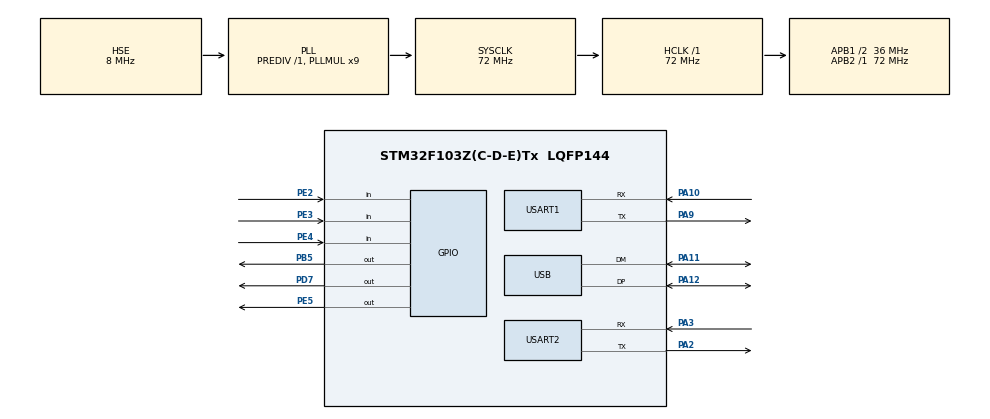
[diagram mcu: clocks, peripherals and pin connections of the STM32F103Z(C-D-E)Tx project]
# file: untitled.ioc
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FREERTOS.Tasks01=defaultTask,24,128,StartDefaultTask,Default,NULL,Dynamic,NULL,NULL;myLEDTask,8,128,StartLEDTask,Default,NULL,Dynamic,NULL,NULL;myUsart2Task,8,128,StartUsart2Task,Default,NULL,Dynamic,NULL,NULL;myUSBTask,8,128,StartUSBTask,Default,NULL,Dynamic,NULL,NULL
FREERTOS.configUSE_NEWLIB_REENTRANT=1
Mcu.Family=STM32F1
Mcu.Name=STM32F103Z(C-D-E)Tx
Mcu.Package=LQFP144
NVIC.PriorityGroup=NVIC_PRIORITYGROUP_4
NVIC.TIM2_IRQn=true\:5\:0\:false\:false\:true\:true\:true\:true\:true
NVIC.TIM7_IRQn=true\:15\:0\:false\:false\:true\:false\:false\:true\:true
NVIC.TimeBase=TIM7_IRQn
NVIC.TimeBaseIP=TIM7
NVIC.USART2_IRQn=true\:5\:0\:false\:false\:true\:true\:true\:true\:true
NVIC.USB_LP_CAN1_RX0_IRQn=true\:5\:0\:false\:false\:true\:true\:false\:true\:true
OSC_IN.Mode=HSE-External-Oscillator
OSC_IN.Signal=RCC_OSC_IN
OSC_OUT.Mode=HSE-External-Oscillator
OSC_OUT.Signal=RCC_OSC_OUT
PA10.Mode=Asynchronous
PA10.Signal=USART1_RX
PA11.Mode=Device
PA11.Signal=USB_DM
PA12.Mode=Device
PA12.Signal=USB_DP
PA13.Mode=Serial_Wire
PA13.Signal=SYS_JTMS-SWDIO
PA14.Mode=Serial_Wire
PA14.Signal=SYS_JTCK-SWCLK
PA2.Mode=Asynchronous
PA2.Signal=USART2_TX
PA3.Mode=Asynchronous
PA3.Signal=USART2_RX
PA9.Mode=Asynchronous
PA9.Signal=USART1_TX
PB5.Signal=GPIO_Output
PD7.Signal=GPIO_Output
PE2.Signal=GPIO_Input
PE3.Signal=GPIO_Input
PE4.Signal=GPIO_Input
PE5.Signal=GPIO_Output
ProjectManager.HeapSize=0x200
ProjectManager.StackSize=0x400
ProjectManager.TargetToolchain=STM32CubeIDE
RCC.AHBFreq_Value=72000000
RCC.APB1CLKDivider=RCC_HCLK_DIV2
RCC.APB1Freq_Value=36000000
RCC.APB1TimFreq_Value=72000000
RCC.APB2Freq_Value=72000000
RCC.APB2TimFreq_Value=72000000
RCC.HCLKFreq_Value=72000000
RCC.PLLMUL=RCC_PLL_MUL9
RCC.PLLSourceVirtual=RCC_PLLSOURCE_HSE
RCC.SYSCLKFreq_VALUE=72000000
RCC.SYSCLKSource=RCC_SYSCLKSOURCE_PLLCLK
RCC.USBFreq_Value=48000000
RCC.USBPrescaler=RCC_USBCLKSOURCE_PLL_DIV1_5
TIM2.Period=500
TIM2.Prescaler=72-1
USART1.VirtualMode=VM_ASYNC
USART2.VirtualMode=VM_ASYNC
USB_DEVICE.CLASS_NAME_FS=CDC
USB_DEVICE.VirtualMode=Cdc
USB_DEVICE.VirtualModeFS=Cdc_FS
VP_FREERTOS_VS_CMSIS_V2.Mode=CMSIS_V2
VP_SYS_VS_tim7.Mode=TIM7
VP_TIM2_VS_ClockSourceINT.Mode=Internal
VP_USB_DEVICE_VS_USB_DEVICE_CDC_FS.Mode=CDC_FS
board=custom

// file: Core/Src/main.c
/* USER CODE BEGIN Header */
/**
  ******************************************************************************
  * @file           : main.c
  * @brief          : Main program body
  ******************************************************************************
  * @attention
  *
  * Copyright (c) 2024 STMicroelectronics.
  * All rights reserved.
  *
  * This software is licensed under terms that can be found in the LICENSE file
  * in the root directory of this software component.
  * If no LICENSE file comes with this software, it is provided AS-IS.
  *
  ******************************************************************************
  */
/* USER CODE END Header */
#include "main.h"
#include "cmsis_os.h"
#include "usb_device.h"

/* USER CODE BEGIN Includes */
#include "semphr.h"
#include "user_task.h"
#include "user_gpio.h"
#include "user_usart.h"
#include "user_debug.h"
#include "user_usb.h"
#include "user_data.h"
/* USER CODE END Includes */

/* USER CODE BEGIN PM */
extern uint8_t usart2_recv_array[1];
extern enum State current_state;
extern enum State next_state;
extern uint8_t usb_rx_finish;
extern uint8_t usb_rx_data[USB_MAX_SIZE];
/* USER CODE END PM */

TIM_HandleTypeDef htim2;

UART_HandleTypeDef huart1;
UART_HandleTypeDef huart2;

/* Definitions for defaultTask */
osThreadId_t defaultTaskHandle;
const osThreadAttr_t defaultTask_attributes = {
  .name = "defaultTask",
  .stack_size = 128 * 4,
  .priority = (osPriority_t) osPriorityNormal,
};
/* Definitions for myLEDTask */
osThreadId_t myLEDTaskHandle;
const osThreadAttr_t myLEDTask_attributes = {
  .name = "myLEDTask",
  .stack_size = 128 * 4,
  .priority = (osPriority_t) osPriorityLow,
};
/* Definitions for myUsart2Task */
osThreadId_t myUsart2TaskHandle;
const osThreadAttr_t myUsart2Task_attributes = {
  .name = "myUsart2Task",
  .stack_size = 128 * 4,
  .priority = (osPriority_t) osPriorityLow,
};
/* Definitions for myUSBTask */
osThreadId_t myUSBTaskHandle;
const osThreadAttr_t myUSBTask_attributes = {
  .name = "myUSBTask",
  .stack_size = 128 * 4,
  .priority = (osPriority_t) osPriorityLow,
};
/* USER CODE BEGIN PV */

SemaphoreHandle_t uart1_mutex;

/* USER CODE END PV */

void SystemClock_Config(void);
static void MX_GPIO_Init(void);
static void MX_USART1_UART_Init(void);
static void MX_USART2_UART_Init(void);
static void MX_TIM2_Init(void);
void StartDefaultTask(void *argument);
void StartLEDTask(void *argument);
void StartUsart2Task(void *argument);
void StartUSBTask(void *argument);

int main(void)
{

  /* MCU Configuration--------------------------------------------------------*/

  /* Reset of all peripherals, Initializes the Flash interface and the Systick. */
  HAL_Init();

  /* USER CODE BEGIN Init */
  uart1_mutex = xSemaphoreCreateMutex();
  /* USER CODE END Init */

  /* Configure the system clock */
  SystemClock_Config();

  /* Initialize all configured peripherals */
  MX_GPIO_Init();
  MX_USART1_UART_Init();
  MX_USART2_UART_Init();
  MX_TIM2_Init();
  /* USER CODE BEGIN 2 */
  MX_USB_DEVICE_Init();
  HAL_TIM_Base_Start_IT(&htim2);
  HAL_UART_Receive_IT(&huart2, usart2_recv_array, 1);
  Init_USB_Data();
  /* USER CODE END 2 */

  /* Init scheduler */
  osKernelInitialize();

  /* Create the thread(s) */
  /* creation of defaultTask */
  defaultTaskHandle = osThreadNew(StartDefaultTask, NULL, &defaultTask_attributes);

  /* creation of myLEDTask */
  myLEDTaskHandle = osThreadNew(StartLEDTask, NULL, &myLEDTask_attributes);

  /* creation of myUsart2Task */
  myUsart2TaskHandle = osThreadNew(StartUsart2Task, NULL, &myUsart2Task_attributes);

  /* creation of myUSBTask */
  myUSBTaskHandle = osThreadNew(StartUSBTask, NULL, &myUSBTask_attributes);

  /* Start scheduler */
  osKernelStart();

  /* We should never get here as control is now taken by the scheduler */

  /* Infinite loop */
  while (1)
  {

  }
}

void SystemClock_Config(void)
{
  RCC_OscInitTypeDef RCC_OscInitStruct = {0};
  RCC_ClkInitTypeDef RCC_ClkInitStruct = {0};
  RCC_PeriphCLKInitTypeDef PeriphClkInit = {0};

  /** Initializes the RCC Oscillators according to the specified parameters
  * in the RCC_OscInitTypeDef structure.
  */
  RCC_OscInitStruct.OscillatorType = RCC_OSCILLATORTYPE_HSE;
  RCC_OscInitStruct.HSEState = RCC_HSE_ON;
  RCC_OscInitStruct.HSEPredivValue = RCC_HSE_PREDIV_DIV1;
  RCC_OscInitStruct.HSIState = RCC_HSI_ON;
  RCC_OscInitStruct.PLL.PLLState = RCC_PLL_ON;
  RCC_OscInitStruct.PLL.PLLSource = RCC_PLLSOURCE_HSE;
  RCC_OscInitStruct.PLL.PLLMUL = RCC_PLL_MUL9;
  if (HAL_RCC_OscConfig(&RCC_OscInitStruct) != HAL_OK)
  {
    Error_Handler();
  }

  /** Initializes the CPU, AHB and APB buses clocks
  */
  RCC_ClkInitStruct.ClockType = RCC_CLOCKTYPE_HCLK|RCC_CLOCKTYPE_SYSCLK
                              |RCC_CLOCKTYPE_PCLK1|RCC_CLOCKTYPE_PCLK2;
  RCC_ClkInitStruct.SYSCLKSource = RCC_SYSCLKSOURCE_PLLCLK;
  RCC_ClkInitStruct.AHBCLKDivider = RCC_SYSCLK_DIV1;
  RCC_ClkInitStruct.APB1CLKDivider = RCC_HCLK_DIV2;
  RCC_ClkInitStruct.APB2CLKDivider = RCC_HCLK_DIV1;

  if (HAL_RCC_ClockConfig(&RCC_ClkInitStruct, FLASH_LATENCY_2) != HAL_OK)
  {
    Error_Handler();
  }
  PeriphClkInit.PeriphClockSelection = RCC_PERIPHCLK_USB;
  PeriphClkInit.UsbClockSelection = RCC_USBCLKSOURCE_PLL_DIV1_5;
  if (HAL_RCCEx_PeriphCLKConfig(&PeriphClkInit) != HAL_OK)
  {
    Error_Handler();
  }
}

static void MX_TIM2_Init(void)
{

  TIM_ClockConfigTypeDef sClockSourceConfig = {0};
  TIM_MasterConfigTypeDef sMasterConfig = {0};

  htim2.Instance = TIM2;
  htim2.Init.Prescaler = 72-1;
  htim2.Init.CounterMode = TIM_COUNTERMODE_UP;
  htim2.Init.Period = 500;
  htim2.Init.ClockDivision = TIM_CLOCKDIVISION_DIV1;
  htim2.Init.AutoReloadPreload = TIM_AUTORELOAD_PRELOAD_DISABLE;
  if (HAL_TIM_Base_Init(&htim2) != HAL_OK)
  {
    Error_Handler();
  }
  sClockSourceConfig.ClockSource = TIM_CLOCKSOURCE_INTERNAL;
  if (HAL_TIM_ConfigClockSource(&htim2, &sClockSourceConfig) != HAL_OK)
  {
    Error_Handler();
  }
  sMasterConfig.MasterOutputTrigger = TIM_TRGO_RESET;
  sMasterConfig.MasterSlaveMode = TIM_MASTERSLAVEMODE_DISABLE;
  if (HAL_TIMEx_MasterConfigSynchronization(&htim2, &sMasterConfig) != HAL_OK)
  {
    Error_Handler();
  }

}

static void MX_USART1_UART_Init(void)
{

  huart1.Instance = USART1;
  huart1.Init.BaudRate = 115200;
  huart1.Init.WordLength = UART_WORDLENGTH_8B;
  huart1.Init.StopBits = UART_STOPBITS_1;
  huart1.Init.Parity = UART_PARITY_NONE;
  huart1.Init.Mode = UART_MODE_TX_RX;
  huart1.Init.HwFlowCtl = UART_HWCONTROL_NONE;
  huart1.Init.OverSampling = UART_OVERSAMPLING_16;
  if (HAL_UART_Init(&huart1) != HAL_OK)
  {
    Error_Handler();
  }

}

static void MX_USART2_UART_Init(void)
{

  huart2.Instance = USART2;
  huart2.Init.BaudRate = 115200;
  huart2.Init.WordLength = UART_WORDLENGTH_8B;
  huart2.Init.StopBits = UART_STOPBITS_1;
  huart2.Init.Parity = UART_PARITY_NONE;
  huart2.Init.Mode = UART_MODE_TX_RX;
  huart2.Init.HwFlowCtl = UART_HWCONTROL_NONE;
  huart2.Init.OverSampling = UART_OVERSAMPLING_16;
  if (HAL_UART_Init(&huart2) != HAL_OK)
  {
    Error_Handler();
  }

}

static void MX_GPIO_Init(void)
{
  GPIO_InitTypeDef GPIO_InitStruct = {0};

  /* GPIO Ports Clock Enable */
  __HAL_RCC_GPIOE_CLK_ENABLE();
  __HAL_RCC_GPIOA_CLK_ENABLE();
  __HAL_RCC_GPIOD_CLK_ENABLE();
  __HAL_RCC_GPIOB_CLK_ENABLE();

  /*Configure GPIO pin Output Level */
  HAL_GPIO_WritePin(GPIOE, GPIO_PIN_5, GPIO_PIN_RESET);

  /*Configure GPIO pin Output Level */
  HAL_GPIO_WritePin(GPIOD, GPIO_PIN_7, GPIO_PIN_RESET);

  /*Configure GPIO pin Output Level */
  HAL_GPIO_WritePin(GPIOB, GPIO_PIN_5, GPIO_PIN_RESET);

  /*Configure GPIO pins : PE2 PE3 PE4 */
  GPIO_InitStruct.Pin = GPIO_PIN_2|GPIO_PIN_3|GPIO_PIN_4;
  GPIO_InitStruct.Mode = GPIO_MODE_INPUT;
  GPIO_InitStruct.Pull = GPIO_NOPULL;
  HAL_GPIO_Init(GPIOE, &GPIO_InitStruct);

  /*Configure GPIO pin : PE5 */
  GPIO_InitStruct.Pin = GPIO_PIN_5;
  GPIO_InitStruct.Mode = GPIO_MODE_OUTPUT_PP;
  GPIO_InitStruct.Pull = GPIO_NOPULL;
  GPIO_InitStruct.Speed = GPIO_SPEED_FREQ_LOW;
  HAL_GPIO_Init(GPIOE, &GPIO_InitStruct);

  /*Configure GPIO pin : PD7 */
  GPIO_InitStruct.Pin = GPIO_PIN_7;
  GPIO_InitStruct.Mode = GPIO_MODE_OUTPUT_PP;
  GPIO_InitStruct.Pull = GPIO_NOPULL;
  GPIO_InitStruct.Speed = GPIO_SPEED_FREQ_LOW;
  HAL_GPIO_Init(GPIOD, &GPIO_InitStruct);

  /*Configure GPIO pin : PB5 */
  GPIO_InitStruct.Pin = GPIO_PIN_5;
  GPIO_InitStruct.Mode = GPIO_MODE_OUTPUT_PP;
  GPIO_InitStruct.Pull = GPIO_NOPULL;
  GPIO_InitStruct.Speed = GPIO_SPEED_FREQ_LOW;
  HAL_GPIO_Init(GPIOB, &GPIO_InitStruct);

}

void StartDefaultTask(void *argument)
{
  /* init code for USB_DEVICE */
  MX_USB_DEVICE_Init();
  /* USER CODE BEGIN 5 */
  /* Infinite loop */
  for(;;)
  {
	  // test

//	  // 测试debug
//	  test_debug();

//	  // 测试485发�??
//	  Test_Usart2_Transmit();

	  // 系统状�?�机
	  stateTask();
	  osDelay(1);
  }
  /* USER CODE END 5 */
}

void StartLEDTask(void *argument)
{
  /* USER CODE BEGIN StartLEDTask */
  /* Infinite loop */
  for(;;)
  {
	  // test
//	  // 测试led
//	  test_led();

	  led_0_on();
	  osDelay(500);
	  led_0_off();
	  osDelay(500);
  }
  /* USER CODE END StartLEDTask */
}

void StartUsart2Task(void *argument)
{
  /* USER CODE BEGIN StartUsart2Task */
  /* Infinite loop */
  for(;;)
  {
	  if(current_state != next_state)
	  {
		  current_state = next_state;
		  Change_Screen_ID(current_state);
	  }
	  Usart2_Parse_Data();
	  osDelay(1);
  }
  /* USER CODE END StartUsart2Task */
}

void StartUSBTask(void *argument)
{
  /* USER CODE BEGIN StartUSBTask */
  /* Infinite loop */
  for(;;)
  {
	if(usb_rx_finish == 1)
	{
		Parse_USB_Data();
		memset(usb_rx_data, 0, 64);
		usb_rx_finish = 0;
	}
    osDelay(1);
  }
  /* USER CODE END StartUSBTask */
}

void HAL_TIM_PeriodElapsedCallback(TIM_HandleTypeDef *htim)
{
  if (htim->Instance == TIM7) {
    HAL_IncTick();
  }
}

void Error_Handler(void)
{
  __disable_irq();
  while (1)
  {
  }
}
